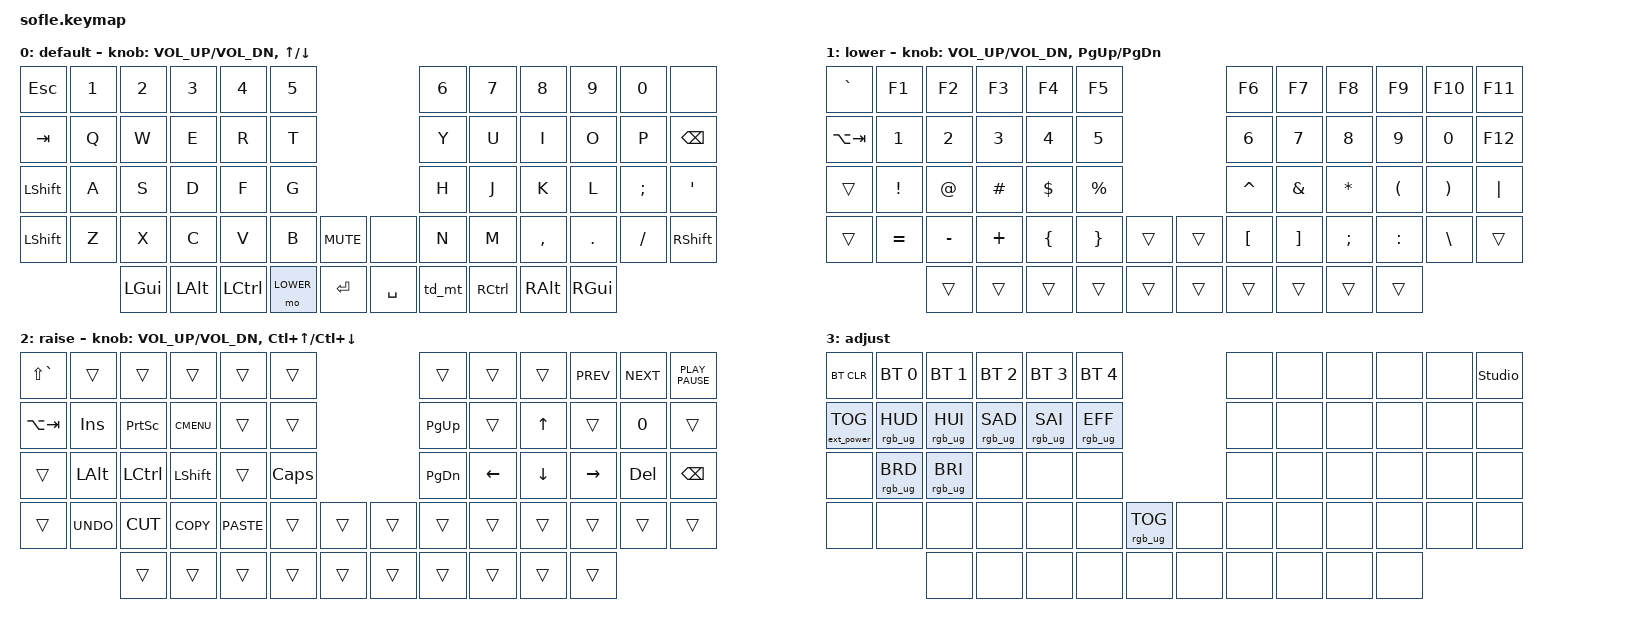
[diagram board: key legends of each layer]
/*
 * Copyright (c) 2020 The ZMK Contributors
 *
 * SPDX-License-Identifier: MIT
 */

#include <behaviors.dtsi>
#include <dt-bindings/zmk/bt.h>
#include <dt-bindings/zmk/ext_power.h>
#include <dt-bindings/zmk/keys.h>
#include <dt-bindings/zmk/rgb.h>

#define BASE 0
#define LOWER 1
#define RAISE 2
#define ADJUST 3

&led_strip { chain-length = <36>; };

&sensors { triggers-per-rotation = <24>; };

/ {
    // Activate ADJUST layer by pressing raise and lower

    conditional_layers {
        compatible = "zmk,conditional-layers";

        adjust_layer {
            if-layers = <LOWER RAISE>;
            then-layer = <ADJUST>;
        };
    };

    behaviors {
        hl_ts: hold_layer_tap_shift {
            compatible = "zmk,behavior-hold-tap";
            #binding-cells = <2>;
            tapping-term-ms = <75>;
            quick-tap-ms = <0>;
            flavor = "tap-preferred";
            bindings = <&mo>, <&sk>;
        };

        td_mt: tap_dance_mod_tap {
            compatible = "zmk,behavior-tap-dance";
            #binding-cells = <0>;
            tapping-term-ms = <110>;
            bindings = <&hl_ts RAISE LSHIFT>, <&kp CAPSLOCK>;
        };
    };

    keymap {
        compatible = "zmk,keymap";

        default_layer {
            display-name = "default";

            // ------------------------------------------------------------------------------------------------------------
            // |   `   |  1  |  2  |  3   |  4   |  5   |                   |  6   |  7    |  8    |  9   |   0   |       |
            // |  ESC  |  Q  |  W  |  E   |  R   |  T   |                   |  Y   |  U    |  I    |  O   |   P   | BKSPC |
            // |  TAB  |  A  |  S  |  D   |  F   |  G   |                   |  H   |  J    |  K    |  L   |   ;   |   '   |
            // | SHIFT |  Z  |  X  |  C   |  V   |  B   |  MUTE  |  |       |  N   |  M    |  ,    |  .   |   /   | SHIFT |
            //               | GUI | ALT  | CTRL | LOWER|  ENTER |  | SPACE | RAISE| CTRL  | ALT   | GUI  |

            bindings = <
&kp ESCAPE      &kp N1  &kp N2    &kp N3    &kp N4     &kp N5                              &kp N6     &kp N7     &kp N8     &kp N9    &kp N0    &none
&kp TAB         &kp Q   &kp W     &kp E     &kp R      &kp T                               &kp Y      &kp U      &kp I      &kp O     &kp P     &kp BSPC
&kp LEFT_SHIFT  &kp A   &kp S     &kp D     &kp F      &kp G                               &kp H      &kp J      &kp K      &kp L     &kp SEMI  &kp SQT
&kp LSHFT       &kp Z   &kp X     &kp C     &kp V      &kp B      &kp C_MUTE    &none      &kp N      &kp M      &kp COMMA  &kp DOT   &kp FSLH  &kp RSHFT
                        &kp LGUI  &kp LALT  &kp LCTRL  &mo LOWER  &kp RET       &kp SPACE  &td_mt     &kp RCTRL  &kp RALT   &kp RGUI
            >;

            sensor-bindings = <&inc_dec_kp C_VOL_UP C_VOL_DN &inc_dec_kp UP DOWN>;
        };

        lower_layer {
            display-name = "lower";

            // TODO: Some binds are waiting for shifted keycode support.
            // ------------------------------------------------------------------------------------------------------------
            // |       |  F1 |  F2 |  F3  |  F4  |  F5  |                   |  F6  |  F7   |  F8   |  F9  |  F10  |  F11  |
            // |   `   |  1  |  2  |  3   |  4   |  5   |                   |  6   |  7    |  8    |  9   |   0   |  F12  |
            // |       |  !  |  @  |  #   |  $   |  %   |                   |  ^   |  &    |  *    |  (   |   )   |   |   |
            // |       |  =  |  -  |  +   |  {   |  }   |        |  |       |  [   |  ]    |  ;    |  :   |   \   |       |
            //               |     |      |      |      |        |  |       |      |       |       |      |

            bindings = <
&kp GRAVE    &kp F1     &kp F2     &kp F3    &kp F4    &kp F5                       &kp F6     &kp F7    &kp F8     &kp F9     &kp F10   &kp F11
&kp LA(TAB)  &kp N1     &kp N2     &kp N3    &kp N4    &kp N5                       &kp N6     &kp N7    &kp N8     &kp N9     &kp N0    &kp F12
&trans       &kp EXCL   &kp AT     &kp HASH  &kp DLLR  &kp PRCNT                    &kp CARET  &kp AMPS  &kp ASTRK  &kp LPAR   &kp RPAR  &kp PIPE
&trans       &kp EQUAL  &kp MINUS  &kp PLUS  &kp LBRC  &kp RBRC   &trans    &trans  &kp LBKT   &kp RBKT  &kp SEMI   &kp COLON  &kp BSLH  &trans
                        &trans     &trans    &trans    &trans     &trans    &trans  &trans     &trans    &trans     &trans
            >;

            sensor-bindings = <&inc_dec_kp C_VOL_UP C_VOL_DN &inc_dec_kp PG_UP PG_DN>;
        };

        raise_layer {
            display-name = "raise";

            // ------------------------------------------------------------------------------------------------------------
            // | BTCLR | BT1  | BT2  |  BT3  |  BT4  |  BT5 |                |      |      |       |      |       |       |
            // |       | INS  | PSCR | GUI   |       |      |                | PGUP |      |   ^   |      |       |       |
            // |       | ALT  | CTRL | SHIFT |       | CAPS |                | PGDN |   <- |   v   |  ->  |  DEL  | BKSPC |
            // |       | UNDO | CUT  | COPY  | PASTE |      |      |  |      |      |      |       |      |       |       |
            //                |      |       |       |      |      |  |      |      |      |       |      |

            bindings = <
&kp LS(GRAVE)  &trans      &trans     &trans       &trans       &trans                      &trans     &trans    &trans    &kp K_PREV  &kp K_NEXT  &kp K_PLAY_PAUSE
&kp LA(TAB)    &kp INS     &kp PSCRN  &kp K_CMENU  &trans       &trans                      &kp PG_UP  &trans    &kp UP    &trans      &kp N0      &trans
&trans         &kp LALT    &kp LCTRL  &kp LSHFT    &trans       &kp CLCK                    &kp PG_DN  &kp LEFT  &kp DOWN  &kp RIGHT   &kp DEL     &kp BSPC
&trans         &kp K_UNDO  &kp K_CUT  &kp K_COPY   &kp K_PASTE  &trans    &trans    &trans  &trans     &trans    &trans    &trans      &trans      &trans
                           &trans     &trans       &trans       &trans    &trans    &trans  &trans     &trans    &trans    &trans
            >;

            sensor-bindings = <&inc_dec_kp C_VOL_UP C_VOL_DN &inc_dec_kp LC(UP_ARROW) LC(DOWN_ARROW)>;
        };

        adjust_layer {
            // ----------------------------------------------------------------------------------------------------------------------------
            // | BTCLR  |  BT1    |  BT2    |   BT3   |   BT4   |   BT5   |                  |      |      |       |      |       |       |
            // | EXTPWR | RGB_HUD | RGB_HUI | RGB_SAD | RGB_SAI | RGB_EFF |                  |      |      |       |      |       |       |
            // |        | RGB_BRD | RGB_BRI |         |         |         |                  |      |      |       |      |       |       |
            // |        |         |         |         |         |         | RGB_TOG | |      |      |      |       |      |       |       |
            //                    |         |         |         |         |         | |      |      |      |       |      |

            display-name = "adjust";
            bindings = <
&bt BT_CLR         &bt BT_SEL 0     &bt BT_SEL 1     &bt BT_SEL 2     &bt BT_SEL 3     &bt BT_SEL 4                               &none  &none  &none  &none  &none  &studio_unlock
&ext_power EP_TOG  &rgb_ug RGB_HUD  &rgb_ug RGB_HUI  &rgb_ug RGB_SAD  &rgb_ug RGB_SAI  &rgb_ug RGB_EFF                            &none  &none  &none  &none  &none  &none
&none              &rgb_ug RGB_BRD  &rgb_ug RGB_BRI  &none            &none            &none                                      &none  &none  &none  &none  &none  &none
&none              &none            &none            &none            &none            &none            &rgb_ug RGB_TOG    &none  &none  &none  &none  &none  &none  &none
                                    &none            &none            &none            &none            &none              &none  &none  &none  &none  &none
            >;
        };
    };
};
